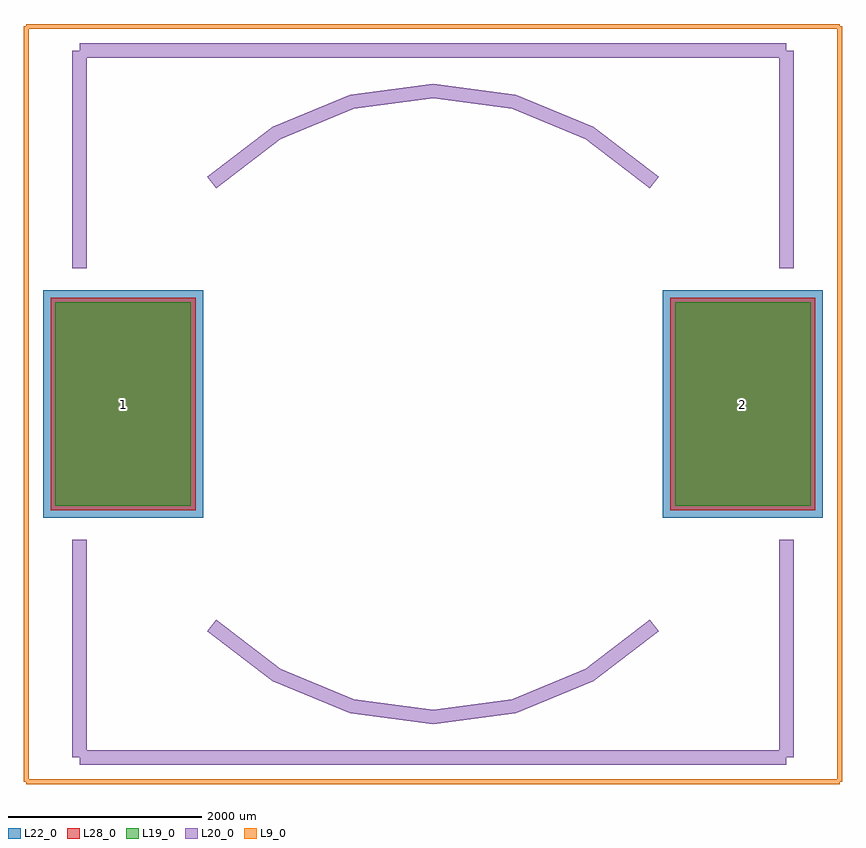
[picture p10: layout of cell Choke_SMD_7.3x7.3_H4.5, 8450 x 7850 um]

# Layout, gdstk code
import gdstk
lib = gdstk.Library(unit=1e-6, precision=1e-09)
def R(c, l, rs):  # rectangles x0, y0, x1, y1
    for r in rs: c.add(gdstk.rectangle(r[:2], r[2:], *l))
L9_0 = (9, 0)
L19_0 = (19, 0)
L20_0 = (20, 0)
L22_0 = (22, 0)
L28_0 = (28, 0)

choke_smd_7_3x7_3_h4_5 = lib.new_cell('Choke_SMD_7.3x7.3_H4.5')
R(choke_smd_7_3x7_3_h4_5, L19_0, [(-3900,-1050,-2500,1050), (2500,-1050,3900,1050)])
R(choke_smd_7_3x7_3_h4_5, L22_0, [(-4025,-1175,-2375,1175), (2375,-1175,4025,1175)])
R(choke_smd_7_3x7_3_h4_5, L28_0, [(-3950,-1100,-2450,1100), (2450,-1100,3950,1100)])
choke_smd_7_3x7_3_h4_5.add(gdstk.FlexPath([(-3650,3650),(3650,3650)], 149.998, ends="flush", simple_path=True, layer=20, datatype=0))  # L20_0
choke_smd_7_3x7_3_h4_5.add(gdstk.FlexPath([(3650,-3650),(-3650,-3650)], 149.998, ends="flush", simple_path=True, layer=20, datatype=0))  # L20_0
choke_smd_7_3x7_3_h4_5.add(gdstk.FlexPath([(-3650,3650),(-3650,1400)], 149.998, ends="flush", simple_path=True, layer=20, datatype=0))  # L20_0
choke_smd_7_3x7_3_h4_5.add(gdstk.FlexPath([(-3650,-3650),(-3650,-1400)], 149.998, ends="flush", simple_path=True, layer=20, datatype=0))  # L20_0
choke_smd_7_3x7_3_h4_5.add(gdstk.FlexPath([(3650,3650),(3650,1400)], 149.998, ends="flush", simple_path=True, layer=20, datatype=0))  # L20_0
choke_smd_7_3x7_3_h4_5.add(gdstk.FlexPath([(3650,-3650),(3650,-1400)], 149.998, ends="flush", simple_path=True, layer=20, datatype=0))  # L20_0
choke_smd_7_3x7_3_h4_5.add(gdstk.FlexPath([(2286,2286),(1616.446,2799.767),(836.734,3122.734),(0,3232.892),(-836.734,3122.734),(-1616.446,2799.767),(-2286,2286)], 149.998, ends="flush", simple_path=True, layer=20, datatype=0))  # L20_0
choke_smd_7_3x7_3_h4_5.add(gdstk.FlexPath([(-2286,-2286),(-1616.446,-2799.767),(-836.734,-3122.734),(0,-3232.892),(836.734,-3122.734),(1616.446,-2799.767),(2286,-2286)], 149.998, ends="flush", simple_path=True, layer=20, datatype=0))  # L20_0
choke_smd_7_3x7_3_h4_5.add(gdstk.FlexPath([(4200,3900),(-4200,3900)], 50, ends="flush", simple_path=True, layer=9, datatype=0))  # L9_0
choke_smd_7_3x7_3_h4_5.add(gdstk.FlexPath([(4200,-3900),(4200,3900)], 50, ends="flush", simple_path=True, layer=9, datatype=0))  # L9_0
choke_smd_7_3x7_3_h4_5.add(gdstk.FlexPath([(-4200,-3900),(4200,-3900)], 50, ends="flush", simple_path=True, layer=9, datatype=0))  # L9_0
choke_smd_7_3x7_3_h4_5.add(gdstk.FlexPath([(-4200,3900),(-4200,-3900)], 50, ends="flush", simple_path=True, layer=9, datatype=0))  # L9_0
choke_smd_7_3x7_3_h4_5.add(gdstk.Label('2', (3200,0), layer=28, texttype=0))
choke_smd_7_3x7_3_h4_5.add(gdstk.Label('1', (-3200,0), layer=28, texttype=0))
choke_smd_7_3x7_3_h4_5.add(gdstk.Label('type', (0,-4445), layer=9, texttype=0))
choke_smd_7_3x7_3_h4_5.add(gdstk.Label('devicename', (0,4445), layer=9, texttype=0))

lib.write_gds('Choke_SMD_7.3x7.3_H4.5.gds')
